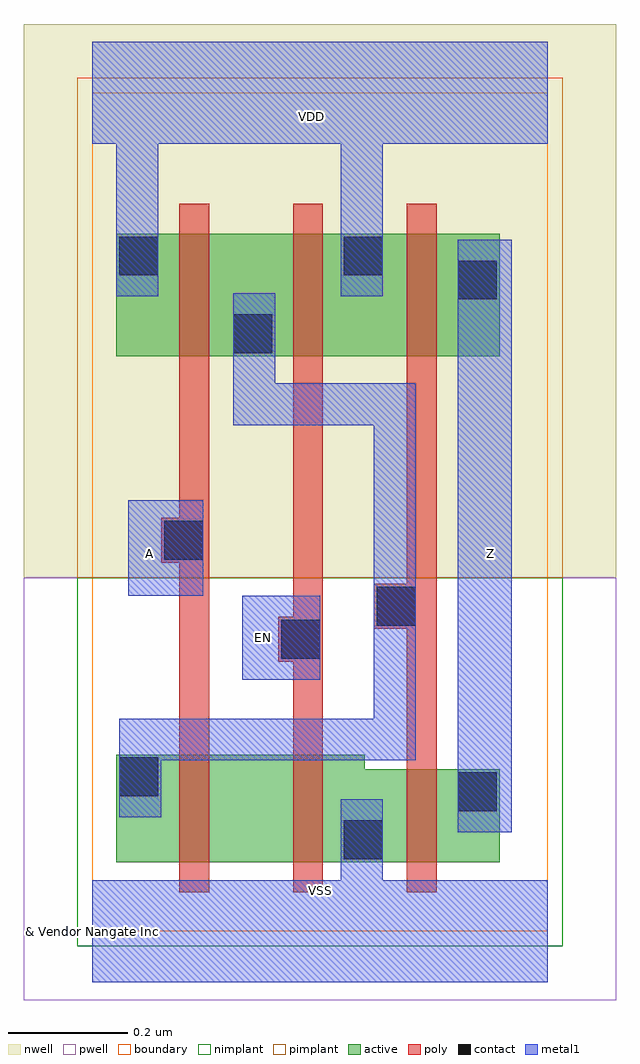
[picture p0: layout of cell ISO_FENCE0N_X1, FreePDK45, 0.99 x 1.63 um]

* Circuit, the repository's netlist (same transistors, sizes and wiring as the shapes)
* 
* ******************************************************************************
* *                                                                            *
* *                   Copyright (C) 2004-2011, Nangate Inc.                    *
* *                           All rights reserved.                             *
* *                                                                            *
* * Nangate and the Nangate logo are trademarks of Nangate Inc.                *
* *                                                                            *
* * All trademarks, logos, software marks, and trade names (collectively the   *
* * "Marks") in this program are proprietary to Nangate or other respective    *
* * owners that have granted Nangate the right and license to use such Marks.  *
* * You are not permitted to use the Marks without the prior written consent   *
* * of Nangate or such third party that may own the Marks.                     *
* *                                                                            *
* * This file has been provided pursuant to a License Agreement containing     *
* * restrictions on its use. This file contains valuable trade secrets and     *
* * proprietary information of Nangate Inc., and is protected by U.S. and      *
* * international laws and/or treaties.                                        *
* *                                                                            *
* * The copyright notice(s) in this file does not indicate actual or intended  *
* * publication of this file.                                                  *
* *                                                                            *
* *     NGLibraryCreator, v2010.08-HR32-SP3-2010-08-05 - build 1009061800      *
* *                                                                            *
* ******************************************************************************
* 
* 
* Running on server08.nangate.com for user Giancarlo Franciscatto (gfr).
* Local time is now Thu, 6 Jan 2011, 19:45:45.
* Main process id is 3320.
*
********************************************************************************
*                                                                              *
* Cellname:   ISO_FENCE0N_X1.                                                  *
*                                                                              *
* Technology: NCSU FreePDK 45nm.                                               *
* Format:     Cdl.                                                             *
*                                                                              *
* Written on server08.nangate.com for user Giancarlo Franciscatto (gfr)        *
* at 19:45:45 on Thu, 6 Jan 2011.                                              *
*                                                                              *
********************************************************************************
.SUBCKT ISO_FENCE0N_X1 A EN Z VDD VSS 
*.PININFO A:I EN:I Z:O VDD:P VSS:G
*.EQN Z=(A * EN)
M_i_0 net_001 A net_000 VSS NMOS_VTL W=0.180000U L=0.050000U
M_i_5 VSS EN net_001 VSS NMOS_VTL W=0.180000U L=0.050000U
M_i_11 Z net_000 VSS VSS NMOS_VTL W=0.155000U L=0.050000U
M_i_17 net_000 A VDD VDD PMOS_VTL W=0.205000U L=0.050000U
M_i_24 VDD EN net_000 VDD PMOS_VTL W=0.205000U L=0.050000U
M_i_30 Z net_000 VDD VDD PMOS_VTL W=0.205000U L=0.050000U
.ENDS 

********************************************************************************
*
* END
*
********************************************************************************

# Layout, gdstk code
import gdstk
lib = gdstk.Library(unit=1e-6, precision=1e-10)
def R(c, l, rs):  # rectangles x0, y0, x1, y1
    for r in rs: c.add(gdstk.rectangle(r[:2], r[2:], *l))
def P(c, l, *ps):  # polygons
    for p in ps: c.add(gdstk.Polygon(p, *l))
active = (1, 0)
pwell = (2, 0)
nwell = (3, 0)
nimplant = (4, 0)
pimplant = (5, 0)
poly = (9, 0)
contact = (10, 0)
metal1 = (11, 0)
boundary = (235, 0)

iso_fence0n_x1 = lib.new_cell('ISO_FENCE0N_X1')
R(iso_fence0n_x1, active, [(0.04,0.96,0.68,1.165)])
P(iso_fence0n_x1, active, [(0.04,0.115),(0.68,0.115),(0.68,0.27),(0.455,0.27),(0.455,0.295),(0.04,0.295)])
R(iso_fence0n_x1, pwell, [(-0.115,-0.115,0.875,0.59)])
R(iso_fence0n_x1, nwell, [(-0.115,0.59,0.875,1.515)])
R(iso_fence0n_x1, nimplant, [(-0.025,-0.025,0.785,0.59)])
R(iso_fence0n_x1, pimplant, [(-0.025,0.59,0.785,1.425)])
P(iso_fence0n_x1, poly, [(0.115,0.615),(0.145,0.615),(0.145,0.065),(0.195,0.065),(0.195,1.215),(0.145,1.215),(0.145,0.69),(0.115,0.69)],
  [(0.31,0.45),(0.335,0.45),(0.335,0.065),(0.385,0.065),(0.385,1.215),(0.335,1.215),(0.335,0.525),(0.31,0.525)],
  [(0.47,0.505),(0.525,0.505),(0.525,0.065),(0.575,0.065),(0.575,1.215),(0.525,1.215),(0.525,0.58),(0.47,0.58)])
R(iso_fence0n_x1, contact, [(0.42,0.12,0.485,0.185), (0.61,0.2,0.675,0.265), (0.045,0.225,0.11,0.29), (0.315,0.455,0.38,0.52), (0.475,0.51,0.54,0.575), (0.12,0.62,0.185,0.685), (0.235,0.965,0.3,1.03), (0.61,1.055,0.675,1.12), (0.045,1.095,0.11,1.16), (0.42,1.095,0.485,1.16)])
R(iso_fence0n_x1, metal1, [(0.61,0.165,0.7,1.155), (0.25,0.42,0.38,0.56), (0.06,0.56,0.185,0.72)])
P(iso_fence0n_x1, metal1, [(0,-0.085),(0.76,-0.085),(0.76,0.085),(0.485,0.085),(0.485,0.22),(0.415,0.22),(0.415,0.085),(0,0.085)],
  [(0,1.315),(0.04,1.315),(0.04,1.06),(0.11,1.06),(0.11,1.315),(0.415,1.315),(0.415,1.06),(0.485,1.06),(0.485,1.315),(0.76,1.315),(0.76,1.485),(0,1.485)],
  [(0.235,0.845),(0.47,0.845),(0.47,0.355),(0.045,0.355),(0.045,0.19),(0.115,0.19),(0.115,0.285),(0.54,0.285),(0.54,0.915),(0.305,0.915),(0.305,1.065),(0.235,1.065)])
R(iso_fence0n_x1, boundary, [(0,0,0.76,1.4)])
iso_fence0n_x1.add(gdstk.Label('A', (0.095,0.63), layer=11, texttype=0))
iso_fence0n_x1.add(gdstk.Label('EN', (0.285,0.49), layer=11, texttype=0))
iso_fence0n_x1.add(gdstk.Label('VDD', (0.365,1.36), layer=11, texttype=0))
iso_fence0n_x1.add(gdstk.Label('VSS', (0.38,0.0675), layer=11, texttype=0))
iso_fence0n_x1.add(gdstk.Label('Z', (0.665,0.63), layer=11, texttype=0))
iso_fence0n_x1.add(gdstk.Label('& Vendor Nangate Inc', (0,0), layer=63, texttype=63))
iso_fence0n_x1.add(gdstk.Label('& Product Open Cell Library', (0,0), layer=63, texttype=63))
iso_fence0n_x1.add(gdstk.Label('& Version 2010_12', (0,0), layer=63, texttype=63))
iso_fence0n_x1.add(gdstk.Label('& Instance ISO_FENCE0N_X1', (0,0), layer=63, texttype=63))

lib.write_gds('ISO_FENCE0N_X1.gds')
